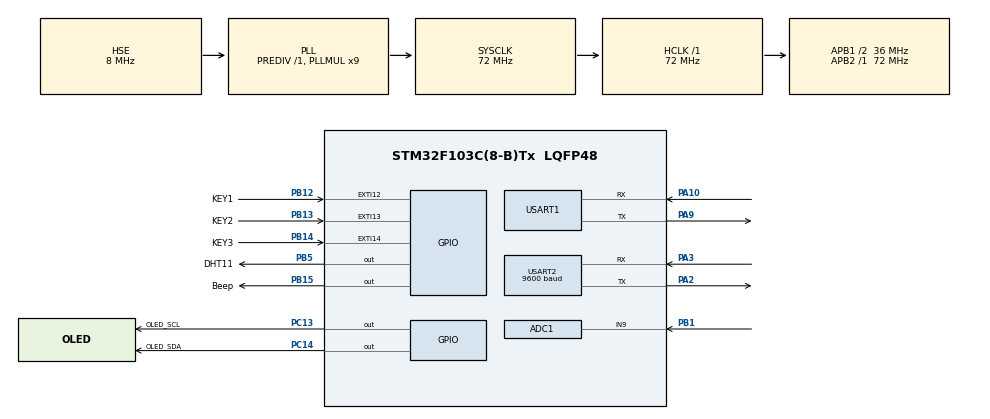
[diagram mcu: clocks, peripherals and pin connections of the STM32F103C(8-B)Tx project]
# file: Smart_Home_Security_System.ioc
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ADC1.Channel-0\#ChannelRegularConversion=ADC_CHANNEL_9
ADC1.NbrOfConversionFlag=1
ADC1.Rank-0\#ChannelRegularConversion=1
ADC1.SamplingTime-0\#ChannelRegularConversion=ADC_SAMPLETIME_1CYCLE_5
ADC1.master=1
Dma.Request0=USART1_TX
Dma.Request1=USART1_RX
Dma.USART1_RX.1.Direction=DMA_PERIPH_TO_MEMORY
Dma.USART1_RX.1.Instance=DMA1_Channel5
Dma.USART1_RX.1.MemDataAlignment=DMA_MDATAALIGN_BYTE
Dma.USART1_RX.1.MemInc=DMA_MINC_ENABLE
Dma.USART1_RX.1.Mode=DMA_NORMAL
Dma.USART1_RX.1.PeriphDataAlignment=DMA_PDATAALIGN_BYTE
Dma.USART1_RX.1.PeriphInc=DMA_PINC_DISABLE
Dma.USART1_RX.1.Priority=DMA_PRIORITY_LOW
Dma.USART1_TX.0.Direction=DMA_MEMORY_TO_PERIPH
Dma.USART1_TX.0.Instance=DMA1_Channel4
Dma.USART1_TX.0.MemDataAlignment=DMA_MDATAALIGN_BYTE
Dma.USART1_TX.0.MemInc=DMA_MINC_ENABLE
Dma.USART1_TX.0.Mode=DMA_NORMAL
Dma.USART1_TX.0.PeriphDataAlignment=DMA_PDATAALIGN_BYTE
Dma.USART1_TX.0.PeriphInc=DMA_PINC_DISABLE
Dma.USART1_TX.0.Priority=DMA_PRIORITY_LOW
Mcu.Family=STM32F1
Mcu.Name=STM32F103C(8-B)Tx
Mcu.Package=LQFP48
NVIC.DMA1_Channel4_IRQn=true\:0\:0\:false\:false\:true\:false\:true\:true
NVIC.DMA1_Channel5_IRQn=true\:0\:0\:false\:false\:true\:false\:true\:true
NVIC.EXTI15_10_IRQn=true\:0\:0\:false\:false\:true\:true\:true\:true
NVIC.PriorityGroup=NVIC_PRIORITYGROUP_4
NVIC.USART1_IRQn=true\:2\:0\:true\:false\:true\:true\:true\:true
NVIC.USART2_IRQn=true\:3\:0\:true\:false\:true\:true\:true\:true
PA10.Mode=Asynchronous
PA10.Signal=USART1_RX
PA13.Mode=Serial_Wire
PA13.Signal=SYS_JTMS-SWDIO
PA14.Mode=Serial_Wire
PA14.Signal=SYS_JTCK-SWCLK
PA2.Mode=Asynchronous
PA2.Signal=USART2_TX
PA3.Mode=Asynchronous
PA3.Signal=USART2_RX
PA9.Mode=Asynchronous
PA9.Signal=USART1_TX
PB1.Signal=ADCx_IN9
PB12.GPIO_Label=KEY1
PB12.GPIO_ModeDefaultEXTI=GPIO_MODE_IT_FALLING
PB12.GPIO_PuPd=GPIO_PULLUP
PB12.Signal=GPXTI12
PB13.GPIO_Label=KEY2
PB13.GPIO_ModeDefaultEXTI=GPIO_MODE_IT_FALLING
PB13.GPIO_PuPd=GPIO_PULLUP
PB13.Signal=GPXTI13
PB14.GPIO_Label=KEY3
PB14.GPIO_ModeDefaultEXTI=GPIO_MODE_IT_FALLING
PB14.GPIO_PuPd=GPIO_PULLUP
PB14.Signal=GPXTI14
PB15.GPIO_Label=Beep
PB15.GPIO_PuPd=GPIO_PULLUP
PB15.GPIO_Speed=GPIO_SPEED_FREQ_HIGH
PB15.PinState=GPIO_PIN_SET
PB15.Signal=GPIO_Output
PB5.GPIO_Label=DHT11
PB5.GPIO_ModeDefaultOutputPP=GPIO_MODE_OUTPUT_PP
PB5.GPIO_PuPd=GPIO_PULLUP
PB5.GPIO_Speed=GPIO_SPEED_FREQ_HIGH
PB5.PinState=GPIO_PIN_SET
PB5.Signal=GPIO_Output
PC13-TAMPER-RTC.GPIO_Label=OLED_SCL
PC13-TAMPER-RTC.GPIO_ModeDefaultOutputPP=GPIO_MODE_OUTPUT_PP
PC13-TAMPER-RTC.GPIO_PuPd=GPIO_PULLUP
PC13-TAMPER-RTC.GPIO_Speed=GPIO_SPEED_FREQ_HIGH
PC13-TAMPER-RTC.PinState=GPIO_PIN_SET
PC13-TAMPER-RTC.Signal=GPIO_Output
PC14-OSC32_IN.GPIO_Label=OLED_SDA
PC14-OSC32_IN.GPIO_ModeDefaultOutputPP=GPIO_MODE_OUTPUT_PP
PC14-OSC32_IN.GPIO_PuPd=GPIO_PULLUP
PC14-OSC32_IN.GPIO_Speed=GPIO_SPEED_FREQ_HIGH
PC14-OSC32_IN.PinState=GPIO_PIN_SET
PC14-OSC32_IN.Signal=GPIO_Output
PD0-OSC_IN.Mode=HSE-External-Oscillator
PD0-OSC_IN.Signal=RCC_OSC_IN
PD1-OSC_OUT.Mode=HSE-External-Oscillator
PD1-OSC_OUT.Signal=RCC_OSC_OUT
ProjectManager.HeapSize=0x200
ProjectManager.StackSize=0x400
ProjectManager.TargetToolchain=MDK-ARM V5.32
RCC.ADCPresc=RCC_ADCPCLK2_DIV6
RCC.AHBFreq_Value=72000000
RCC.APB1CLKDivider=RCC_HCLK_DIV2
RCC.APB1Freq_Value=36000000
RCC.APB1TimFreq_Value=72000000
RCC.APB2Freq_Value=72000000
RCC.APB2TimFreq_Value=72000000
RCC.HCLKFreq_Value=72000000
RCC.PLLMUL=RCC_PLL_MUL9
RCC.PLLSourceVirtual=RCC_PLLSOURCE_HSE
RCC.SYSCLKFreq_VALUE=72000000
RCC.SYSCLKSource=RCC_SYSCLKSOURCE_PLLCLK
RCC.USBFreq_Value=72000000
SH.ADCx_IN9.0=ADC1_IN9,IN9
USART1.VirtualMode=VM_ASYNC
USART2.BaudRate=9600
USART2.VirtualMode=VM_ASYNC
board=custom

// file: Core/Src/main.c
/* USER CODE BEGIN Header */
/**
  ******************************************************************************
  * @file           : main.c
  * @brief          : Main program body
  ******************************************************************************
  * @attention
  *
  * Copyright (c) 2026 STMicroelectronics.
  * All rights reserved.
  *
  * This software is licensed under terms that can be found in the LICENSE file
  * in the root directory of this software component.
  * If no LICENSE file comes with this software, it is provided AS-IS.
  *
  ******************************************************************************
  */
/* USER CODE END Header */
#include "main.h"
#include "adc.h"
#include "dma.h"
#include "usart.h"
#include "gpio.h"

/* USER CODE BEGIN Includes */
#include "oled.h"
#include "dht11.h"
#include "ui.h"
#include "co2.h"
#include "settings.h"
#include "esp8266.h"
/* USER CODE END Includes */

/* USER CODE BEGIN PV */
volatile uint8_t key1_pressed = 0;
volatile uint8_t key2_pressed = 0;
volatile uint8_t key3_pressed = 0;
/* USER CODE END PV */

void SystemClock_Config(void);
/* USER CODE BEGIN PFP */
void Process_Key_Events(void);
/* USER CODE END PFP */

int main(void)
{

  /* USER CODE BEGIN 1 */
  uint8_t wifi_try = 0, mqtt_try = 0;
  /* USER CODE END 1 */

  /* MCU Configuration--------------------------------------------------------*/

  /* Reset of all peripherals, Initializes the Flash interface and the Systick. */
  HAL_Init();

  /* Configure the system clock */
  SystemClock_Config();

  /* Initialize all configured peripherals */
  MX_GPIO_Init();
  MX_DMA_Init();
  MX_USART2_UART_Init();
  MX_ADC1_Init();
  MX_USART1_UART_Init();
  /* USER CODE BEGIN 2 */
  OLED_Init();
  CO2_Init();
  Settings_Init();
	ESP8266_Init();
	  //HAL_GPIO_WritePin(GPIOB, Beep_Pin, GPIO_PIN_RESET);
	  //WIFI����
  while (wifi_try < 5 && !ESP8266_ConnectWiFi())
  {
      wifi_try++;
      HAL_Delay(1000);
  }

	  //����
	if(ESP8266_ConnectCloud()==false)
	{
		  while(1);
	}
	HAL_Delay(5000);
	ESP8266_Clear();
	OLED_Clear();

	//����
	if(!ESP8266_MQTT_Subscribe(MQTT_TOPIC_POST_REPLY,1))
	{
		  while(1);
	}

	//����
		if(!ESP8266_MQTT_Subscribe(MQTT_TOPIC_SET,0))
	{
		  while(1);
	}

  /* USER CODE END 2 */

  /* Infinite loop */
  while (1)
  {

    /* USER CODE BEGIN 3 */
    Process_Key_Events();

    if (SettingMode_Get() == SETTING_MODE_NORMAL) {
        main_ui();
    } else {
        setting_ui();
    }

    HAL_Delay(1000);
  }
  /* USER CODE END 3 */
}

void SystemClock_Config(void)
{
  RCC_OscInitTypeDef RCC_OscInitStruct = {0};
  RCC_ClkInitTypeDef RCC_ClkInitStruct = {0};
  RCC_PeriphCLKInitTypeDef PeriphClkInit = {0};

  /** Initializes the RCC Oscillators according to the specified parameters
  * in the RCC_OscInitTypeDef structure.
  */
  RCC_OscInitStruct.OscillatorType = RCC_OSCILLATORTYPE_HSE;
  RCC_OscInitStruct.HSEState = RCC_HSE_ON;
  RCC_OscInitStruct.HSEPredivValue = RCC_HSE_PREDIV_DIV1;
  RCC_OscInitStruct.HSIState = RCC_HSI_ON;
  RCC_OscInitStruct.PLL.PLLState = RCC_PLL_ON;
  RCC_OscInitStruct.PLL.PLLSource = RCC_PLLSOURCE_HSE;
  RCC_OscInitStruct.PLL.PLLMUL = RCC_PLL_MUL9;
  if (HAL_RCC_OscConfig(&RCC_OscInitStruct) != HAL_OK)
  {
    Error_Handler();
  }

  /** Initializes the CPU, AHB and APB buses clocks
  */
  RCC_ClkInitStruct.ClockType = RCC_CLOCKTYPE_HCLK|RCC_CLOCKTYPE_SYSCLK
                              |RCC_CLOCKTYPE_PCLK1|RCC_CLOCKTYPE_PCLK2;
  RCC_ClkInitStruct.SYSCLKSource = RCC_SYSCLKSOURCE_PLLCLK;
  RCC_ClkInitStruct.AHBCLKDivider = RCC_SYSCLK_DIV1;
  RCC_ClkInitStruct.APB1CLKDivider = RCC_HCLK_DIV2;
  RCC_ClkInitStruct.APB2CLKDivider = RCC_HCLK_DIV1;

  if (HAL_RCC_ClockConfig(&RCC_ClkInitStruct, FLASH_LATENCY_2) != HAL_OK)
  {
    Error_Handler();
  }
  PeriphClkInit.PeriphClockSelection = RCC_PERIPHCLK_ADC;
  PeriphClkInit.AdcClockSelection = RCC_ADCPCLK2_DIV6;
  if (HAL_RCCEx_PeriphCLKConfig(&PeriphClkInit) != HAL_OK)
  {
    Error_Handler();
  }
}

/* USER CODE BEGIN 4 */
void Process_Key_Events(void)
{
    if (key1_pressed) {
        key1_pressed = 0;

        if (SettingMode_Get() == SETTING_MODE_NORMAL) {
            SettingMode_Set(SETTING_MODE_TEMP);
            OLED_Clear();
        } else if (SettingMode_Get() == SETTING_MODE_EXIT) {
            Settings_Save();
            SettingMode_Set(SETTING_MODE_NORMAL);
            OLED_Clear();
        } else {
            SettingMode_Next();
            OLED_Clear();
        }
    }

    if (key2_pressed) {
        key2_pressed = 0;

        if (SettingMode_Get() != SETTING_MODE_NORMAL) {
            SettingValue_Increase();
        }
    }

    if (key3_pressed) {
        key3_pressed = 0;

        if (SettingMode_Get() != SETTING_MODE_NORMAL) {
            SettingValue_Decrease();
        }
    }
}

void HAL_GPIO_EXTI_Callback(uint16_t GPIO_Pin)
{
    if (GPIO_Pin == KEY1_Pin) {
        key1_pressed = 1;
    } else if (GPIO_Pin == KEY2_Pin) {
        key2_pressed = 1;
    } else if (GPIO_Pin == KEY3_Pin) {
        key3_pressed = 1;
    }
}
/* USER CODE END 4 */

void Error_Handler(void)
{
  __disable_irq();
  while (1)
  {
  }
}
